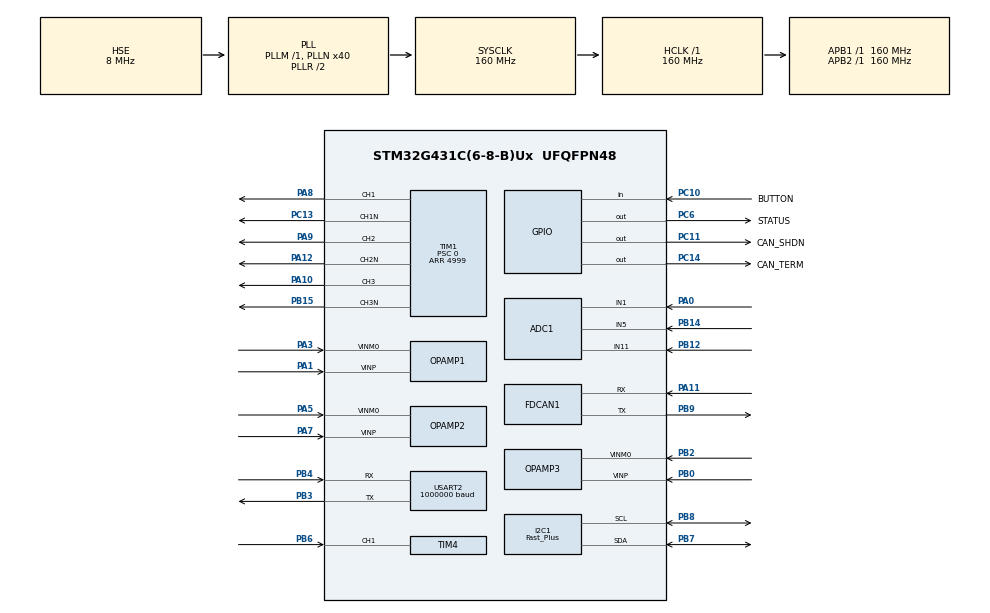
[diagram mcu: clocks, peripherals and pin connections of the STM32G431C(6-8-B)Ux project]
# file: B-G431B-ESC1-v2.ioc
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ADC1.Channel-0\#ChannelRegularConversion=ADC_CHANNEL_VOPAMP1
ADC1.Channel-1\#ChannelRegularConversion=ADC_CHANNEL_VOPAMP1
ADC1.Channel-2\#ChannelRegularConversion=ADC_CHANNEL_11
ADC1.Channel-3\#ChannelRegularConversion=ADC_CHANNEL_1
ADC1.Channel-4\#ChannelRegularConversion=ADC_CHANNEL_5
ADC1.EOCSelection=ADC_EOC_SEQ_CONV
ADC1.ExternalTrigConv=ADC_EXTERNALTRIG_T1_TRGO
ADC1.NbrOfConversion=5
ADC1.NbrOfConversionFlag=1
ADC1.OffsetNumber-0\#ChannelRegularConversion=ADC_OFFSET_NONE
ADC1.OffsetNumber-1\#ChannelRegularConversion=ADC_OFFSET_NONE
ADC1.OffsetNumber-2\#ChannelRegularConversion=ADC_OFFSET_NONE
ADC1.OffsetNumber-3\#ChannelRegularConversion=ADC_OFFSET_NONE
ADC1.OffsetNumber-4\#ChannelRegularConversion=ADC_OFFSET_NONE
ADC1.Overrun=ADC_OVR_DATA_OVERWRITTEN
ADC1.Rank-0\#ChannelRegularConversion=1
ADC1.Rank-1\#ChannelRegularConversion=2
ADC1.Rank-2\#ChannelRegularConversion=3
ADC1.Rank-3\#ChannelRegularConversion=4
ADC1.Rank-4\#ChannelRegularConversion=5
ADC1.SamplingTime-0\#ChannelRegularConversion=ADC_SAMPLETIME_2CYCLES_5
ADC1.SamplingTime-1\#ChannelRegularConversion=ADC_SAMPLETIME_2CYCLES_5
ADC1.SamplingTime-2\#ChannelRegularConversion=ADC_SAMPLETIME_2CYCLES_5
ADC1.SamplingTime-3\#ChannelRegularConversion=ADC_SAMPLETIME_2CYCLES_5
ADC1.SamplingTime-4\#ChannelRegularConversion=ADC_SAMPLETIME_2CYCLES_5
ADC1.master=1
ADC2.Channel-0\#ChannelRegularConversion=ADC_CHANNEL_VOPAMP2
ADC2.Channel-1\#ChannelRegularConversion=ADC_CHANNEL_VOPAMP2
ADC2.Channel-2\#ChannelRegularConversion=ADC_CHANNEL_VOPAMP3_ADC2
ADC2.EOCSelection=ADC_EOC_SEQ_CONV
ADC2.ExternalTrigConv=ADC_EXTERNALTRIG_T1_TRGO
ADC2.NbrOfConversion=3
ADC2.NbrOfConversionFlag=1
ADC2.OffsetNumber-0\#ChannelRegularConversion=ADC_OFFSET_NONE
ADC2.OffsetNumber-1\#ChannelRegularConversion=ADC_OFFSET_NONE
ADC2.OffsetNumber-2\#ChannelRegularConversion=ADC_OFFSET_NONE
ADC2.Overrun=ADC_OVR_DATA_OVERWRITTEN
ADC2.Rank-0\#ChannelRegularConversion=1
ADC2.Rank-1\#ChannelRegularConversion=2
ADC2.Rank-2\#ChannelRegularConversion=3
ADC2.SamplingTime-0\#ChannelRegularConversion=ADC_SAMPLETIME_2CYCLES_5
ADC2.SamplingTime-1\#ChannelRegularConversion=ADC_SAMPLETIME_2CYCLES_5
ADC2.SamplingTime-2\#ChannelRegularConversion=ADC_SAMPLETIME_2CYCLES_5
Dma.ADC1.2.Direction=DMA_PERIPH_TO_MEMORY
Dma.ADC1.2.EventEnable=DISABLE
Dma.ADC1.2.Instance=DMA1_Channel3
Dma.ADC1.2.MemDataAlignment=DMA_MDATAALIGN_HALFWORD
Dma.ADC1.2.MemInc=DMA_MINC_ENABLE
Dma.ADC1.2.Mode=DMA_CIRCULAR
Dma.ADC1.2.PeriphDataAlignment=DMA_PDATAALIGN_HALFWORD
Dma.ADC1.2.PeriphInc=DMA_PINC_DISABLE
Dma.ADC1.2.Polarity=HAL_DMAMUX_REQ_GEN_RISING
Dma.ADC1.2.Priority=DMA_PRIORITY_LOW
Dma.ADC1.2.RequestNumber=1
Dma.ADC1.2.SignalID=NONE
Dma.ADC1.2.SyncEnable=DISABLE
Dma.ADC1.2.SyncPolarity=HAL_DMAMUX_SYNC_NO_EVENT
Dma.ADC1.2.SyncRequestNumber=1
Dma.ADC1.2.SyncSignalID=NONE
Dma.ADC2.3.Direction=DMA_PERIPH_TO_MEMORY
Dma.ADC2.3.EventEnable=DISABLE
Dma.ADC2.3.Instance=DMA1_Channel4
Dma.ADC2.3.MemDataAlignment=DMA_MDATAALIGN_HALFWORD
Dma.ADC2.3.MemInc=DMA_MINC_ENABLE
Dma.ADC2.3.Mode=DMA_CIRCULAR
Dma.ADC2.3.PeriphDataAlignment=DMA_PDATAALIGN_HALFWORD
Dma.ADC2.3.PeriphInc=DMA_PINC_DISABLE
Dma.ADC2.3.Polarity=HAL_DMAMUX_REQ_GEN_RISING
Dma.ADC2.3.Priority=DMA_PRIORITY_LOW
Dma.ADC2.3.RequestNumber=1
Dma.ADC2.3.SignalID=NONE
Dma.ADC2.3.SyncEnable=DISABLE
Dma.ADC2.3.SyncPolarity=HAL_DMAMUX_SYNC_NO_EVENT
Dma.ADC2.3.SyncRequestNumber=1
Dma.ADC2.3.SyncSignalID=NONE
Dma.Request0=USART2_RX
Dma.Request1=USART2_TX
Dma.Request2=ADC1
Dma.Request3=ADC2
Dma.USART2_RX.0.Direction=DMA_PERIPH_TO_MEMORY
Dma.USART2_RX.0.EventEnable=DISABLE
Dma.USART2_RX.0.Instance=DMA1_Channel1
Dma.USART2_RX.0.MemDataAlignment=DMA_MDATAALIGN_BYTE
Dma.USART2_RX.0.MemInc=DMA_MINC_ENABLE
Dma.USART2_RX.0.Mode=DMA_CIRCULAR
Dma.USART2_RX.0.PeriphDataAlignment=DMA_PDATAALIGN_BYTE
Dma.USART2_RX.0.PeriphInc=DMA_PINC_DISABLE
Dma.USART2_RX.0.Polarity=HAL_DMAMUX_REQ_GEN_RISING
Dma.USART2_RX.0.Priority=DMA_PRIORITY_LOW
Dma.USART2_RX.0.RequestNumber=1
Dma.USART2_RX.0.SignalID=NONE
Dma.USART2_RX.0.SyncEnable=DISABLE
Dma.USART2_RX.0.SyncPolarity=HAL_DMAMUX_SYNC_NO_EVENT
Dma.USART2_RX.0.SyncRequestNumber=1
Dma.USART2_RX.0.SyncSignalID=NONE
Dma.USART2_TX.1.Direction=DMA_MEMORY_TO_PERIPH
Dma.USART2_TX.1.EventEnable=DISABLE
Dma.USART2_TX.1.Instance=DMA1_Channel2
Dma.USART2_TX.1.MemDataAlignment=DMA_MDATAALIGN_BYTE
Dma.USART2_TX.1.MemInc=DMA_MINC_ENABLE
Dma.USART2_TX.1.Mode=DMA_NORMAL
Dma.USART2_TX.1.PeriphDataAlignment=DMA_PDATAALIGN_BYTE
Dma.USART2_TX.1.PeriphInc=DMA_PINC_DISABLE
Dma.USART2_TX.1.Polarity=HAL_DMAMUX_REQ_GEN_RISING
Dma.USART2_TX.1.Priority=DMA_PRIORITY_LOW
Dma.USART2_TX.1.RequestNumber=1
Dma.USART2_TX.1.SignalID=NONE
Dma.USART2_TX.1.SyncEnable=DISABLE
Dma.USART2_TX.1.SyncPolarity=HAL_DMAMUX_SYNC_NO_EVENT
Dma.USART2_TX.1.SyncRequestNumber=1
Dma.USART2_TX.1.SyncSignalID=NONE
FDCAN1.AutoRetransmission=ENABLE
FDCAN1.ClockDivider=FDCAN_CLOCK_DIV2
FDCAN1.DataSyncJumpWidth=4
FDCAN1.DataTimeSeg1=5
FDCAN1.DataTimeSeg2=4
FDCAN1.NominalSyncJumpWidth=16
FDCAN1.NominalTimeSeg1=63
FDCAN1.NominalTimeSeg2=16
FDCAN1.StdFiltersNbr=1
FDCAN1.TransmitPause=ENABLE
I2C1.I2C_Speed_Mode=I2C_Fast_Plus
I2C1.Timing=0x00701F6B
Mcu.Family=STM32G4
Mcu.Name=STM32G431C(6-8-B)Ux
Mcu.Package=UFQFPN48
NVIC.ADC1_2_IRQn=true\:0\:0\:false\:false\:true\:true\:true
NVIC.CORDIC_IRQn=true\:0\:0\:false\:false\:true\:true\:true
NVIC.DMA1_Channel1_IRQn=true\:0\:0\:false\:false\:true\:false\:true
NVIC.DMA1_Channel2_IRQn=true\:0\:0\:false\:false\:true\:false\:true
NVIC.DMA1_Channel3_IRQn=true\:0\:0\:false\:false\:true\:false\:true
NVIC.DMA1_Channel4_IRQn=true\:0\:0\:false\:false\:true\:false\:true
NVIC.FDCAN1_IT0_IRQn=true\:0\:0\:false\:false\:true\:true\:true
NVIC.PriorityGroup=NVIC_PRIORITYGROUP_4
NVIC.TIM4_IRQn=true\:0\:0\:true\:false\:true\:true\:true
NVIC.USART2_IRQn=true\:0\:0\:false\:false\:true\:true\:true
OPAMP1.PgaGain=OPAMP_PGA_GAIN_16_OR_MINUS_15
OPAMP2.PgaGain=OPAMP_PGA_GAIN_16_OR_MINUS_15
OPAMP3.PgaGain=OPAMP_PGA_GAIN_16_OR_MINUS_15
PA0.Mode=IN1-Single-Ended
PA0.Signal=ADC1_IN1
PA1.Mode=PGA Internally connected_IO0_BIAS
PA1.Signal=OPAMP1_VINP
PA10.Signal=S_TIM1_CH3
PA11.Mode=FDCAN_Activate
PA11.Signal=FDCAN1_RX
PA12.Mode=PWM Generation2 CH2 CH2N
PA12.Signal=TIM1_CH2N
PA13.Mode=Serial_Wire
PA13.Signal=SYS_JTMS-SWDIO
PA14.Mode=Serial_Wire
PA14.Signal=SYS_JTCK-SWCLK
PA3.Mode=PGA Internally connected_IO0_BIAS
PA3.Signal=OPAMP1_VINM0
PA5.Mode=PGA Internally connected_IO0_BIAS
PA5.Signal=OPAMP2_VINM0
PA7.Mode=PGA Internally connected_IO0_BIAS
PA7.Signal=OPAMP2_VINP
PA8.Signal=S_TIM1_CH1
PA9.Signal=S_TIM1_CH2
PB0.Mode=PGA Internally connected_IO0_BIAS
PB0.Signal=OPAMP3_VINP
PB12.Mode=IN11-Single-Ended
PB12.Signal=ADC1_IN11
PB14.Mode=IN5-Single-Ended
PB14.Signal=ADC1_IN5
PB15.Mode=PWM Generation3 CH3 CH3N
PB15.Signal=TIM1_CH3N
PB2.Mode=PGA Internally connected_IO0_BIAS
PB2.Signal=OPAMP3_VINM0
PB3.Mode=Asynchronous
PB3.Signal=USART2_TX
PB4.Mode=Asynchronous
PB4.Signal=USART2_RX
PB6.Signal=S_TIM4_CH1
PB7.GPIO_FM7=SYSCFG_FASTMODEPLUS_PB7
PB7.GPIO_PuPdOD=GPIO_NOPULL
PB7.GPIO_Speed=GPIO_SPEED_FREQ_VERY_HIGH
PB7.Mode=I2C
PB7.Signal=I2C1_SDA
PB8-BOOT0.GPIO_FM8=SYSCFG_FASTMODEPLUS_PB8
PB8-BOOT0.GPIO_PuPdOD=GPIO_NOPULL
PB8-BOOT0.GPIO_Speed=GPIO_SPEED_FREQ_VERY_HIGH
PB8-BOOT0.Mode=I2C
PB8-BOOT0.Signal=I2C1_SCL
PB9.Mode=FDCAN_Activate
PB9.Signal=FDCAN1_TX
PC10.GPIO_Label=BUTTON
PC10.Signal=GPIO_Input
PC11.GPIO_Label=CAN_SHDN
PC11.Signal=GPIO_Output
PC13.Mode=PWM Generation1 CH1 CH1N
PC13.Signal=TIM1_CH1N
PC14-OSC32_IN.GPIO_Label=CAN_TERM
PC14-OSC32_IN.Signal=GPIO_Output
PC6.GPIO_Label=STATUS
PC6.Signal=GPIO_Output
PF0-OSC_IN.Mode=HSE-External-Oscillator
PF0-OSC_IN.Signal=RCC_OSC_IN
PF1-OSC_OUT.Mode=HSE-External-Oscillator
PF1-OSC_OUT.Signal=RCC_OSC_OUT
ProjectManager.HeapSize=0x200
ProjectManager.StackSize=0x400
ProjectManager.TargetToolchain=STM32CubeIDE
RCC.ADC12Freq_Value=160000000
RCC.AHBFreq_Value=160000000
RCC.APB1Freq_Value=160000000
RCC.APB1TimFreq_Value=160000000
RCC.APB2Freq_Value=160000000
RCC.APB2TimFreq_Value=160000000
RCC.CortexFreq_Value=160000000
RCC.EXTERNAL_CLOCK_VALUE=12288000
RCC.HCLKFreq_Value=160000000
RCC.HSE_VALUE=8000000
RCC.HSI48_VALUE=48000000
RCC.HSI_VALUE=16000000
RCC.LSE_VALUE=32768
RCC.PLLN=40
RCC.PLLSourceVirtual=RCC_PLLSOURCE_HSE
RCC.SYSCLKFreq_VALUE=160000000
RCC.SYSCLKSource=RCC_SYSCLKSOURCE_PLLCLK
RCC.USBFreq_Value=160000000
RCC.VCOOutputFreq_Value=320000000
SH.S_TIM1_CH1.0=TIM1_CH1,PWM Generation1 CH1 CH1N
SH.S_TIM1_CH2.0=TIM1_CH2,PWM Generation2 CH2 CH2N
SH.S_TIM1_CH3.0=TIM1_CH3,PWM Generation3 CH3 CH3N
SH.S_TIM4_CH1.0=TIM4_CH1,PWM_Input_1
TIM1.Channel-PWM\ Generation1\ CH1\ CH1N=TIM_CHANNEL_1
TIM1.Channel-PWM\ Generation2\ CH2\ CH2N=TIM_CHANNEL_2
TIM1.Channel-PWM\ Generation3\ CH3\ CH3N=TIM_CHANNEL_3
TIM1.CounterMode=TIM_COUNTERMODE_CENTERALIGNED1
TIM1.DeadTime=128
TIM1.PeriodNoDither=4999
TIM1.Prescaler=0
TIM1.TIM_MasterOutputTrigger=TIM_TRGO_UPDATE
TIM4.ICPolarity_1=TIM_INPUTCHANNELPOLARITY_RISING
TIM4.Prescaler=2
TIM6.Prescaler=159
USART2.BaudRate=1000000
USART2.VirtualMode-Asynchronous=VM_ASYNC
VP_ADC1_OPAMP_INTERNAL1.Mode=IN-OPAMP1
VP_ADC2_OPAMP_INTERNAL2.Mode=IN-OPAMP2
VP_ADC2_OPAMP_INTERNAL3.Mode=IN-OPAMP3
VP_CORDIC_VS_CORDIC.Mode=CORDIC_Activate
VP_SYS_VS_DBSignals.Mode=DisableDeadBatterySignals
VP_TIM1_VS_ClockSourceINT.Mode=Internal
VP_TIM6_VS_ClockSourceINT.Mode=Enable_Timer
board=custom

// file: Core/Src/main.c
/* USER CODE BEGIN Header */
/**
 ******************************************************************************
 * @file           : main.c
 * @brief          : Main program body
 ******************************************************************************
 * @attention
 *
 * <h2><center>&copy; Copyright (c) 2021 STMicroelectronics.
 * All rights reserved.</center></h2>
 *
 * This software component is licensed by ST under BSD 3-Clause license,
 * the "License"; You may not use this file except in compliance with the
 * License. You may obtain a copy of the License at:
 *                        opensource.org/licenses/BSD-3-Clause
 *
 ******************************************************************************
 */
/* USER CODE END Header */
#include "main.h"

/* USER CODE BEGIN Includes */
#include "serial.h"
#include "position_sensor.h"
#include "foc.h"
#include "math_tool.h"
#include "eeprom.h"
#include "protocol.h"
#include "control_table.h"
#include "binary_tool.h"
#include "pid.h"

/* USER CODE END Includes */

/* USER CODE BEGIN PD */

// Position sensor type :
//    "AS5600_I2C"
//    "AS5048A_PWM"
#define SENSOR_TYPE AS5048A_PWM

// PID Loop period in µs
//  normal setting is 1000us (1KHz)
//  performance setting is 250 (4KHz)
#define PID_LOOP_PERIOD 250

// Autocalibration at startup
//   uncomment this line for calibrating the ESC/MOTOR at startup
//   comment this line to avoid wearing EEPROM
//#define PERFORM_AUTO_CALIBRATION_AT_STARTUP

// Advanced settings (do not change)
#define ALPHA_VELOCITY				0.24f // (default:0.24) F = 1000Hz ==> Fc (-3dB) = 20Hz
#define ALPHA_CURRENT_SETPOINT 		0.48f // (default:0.48) F = 1000Hz ==> Fc (-3dB) = 20Hz

/* USER CODE END PD */

ADC_HandleTypeDef hadc1;
ADC_HandleTypeDef hadc2;
DMA_HandleTypeDef hdma_adc1;
DMA_HandleTypeDef hdma_adc2;

CORDIC_HandleTypeDef hcordic;

FDCAN_HandleTypeDef hfdcan1;

I2C_HandleTypeDef hi2c1;

OPAMP_HandleTypeDef hopamp1;
OPAMP_HandleTypeDef hopamp2;
OPAMP_HandleTypeDef hopamp3;

TIM_HandleTypeDef htim1;
TIM_HandleTypeDef htim4;
TIM_HandleTypeDef htim6;

UART_HandleTypeDef huart2;
DMA_HandleTypeDef hdma_usart2_rx;
DMA_HandleTypeDef hdma_usart2_tx;

/* USER CODE BEGIN PV */
HAL_Serial_Handler serial;
static FDCAN_RxHeaderTypeDef RxHeader;
static uint8_t RxData[8];
static FDCAN_TxHeaderTypeDef TxHeader;
static uint8_t TxData[8];

/* USER CODE END PV */

void SystemClock_Config(void);
static void MX_GPIO_Init(void);
static void MX_DMA_Init(void);
static void MX_TIM4_Init(void);
static void MX_USART2_UART_Init(void);
static void MX_TIM1_Init(void);
static void MX_ADC1_Init(void);
static void MX_ADC2_Init(void);
static void MX_OPAMP1_Init(void);
static void MX_OPAMP2_Init(void);
static void MX_OPAMP3_Init(void);
static void MX_CORDIC_Init(void);
static void MX_TIM6_Init(void);
static void MX_FDCAN1_Init(void);
static void MX_I2C1_Init(void);

/* USER CODE BEGIN 0 */
void HAL_TIM_IC_CaptureCallback(TIM_HandleTypeDef *htim)
{
	if (positionSensor_getType() == AS5048A_PWM)
	{
		API_AS5048A_Position_Sensor_It(htim);
	}
}

// current sense
void HAL_ADC_ConvCpltCallback(ADC_HandleTypeDef *hadc)
{
	API_FOC_It(hadc);
}

/**
 * @brief  Configures the FDCAN.
 * @param  None
 * @retval None
 */
static void FDCAN_Config(void)
{
	FDCAN_FilterTypeDef sFilterConfig;

	/* Configure Rx filter */
	sFilterConfig.IdType = FDCAN_STANDARD_ID;
	sFilterConfig.FilterIndex = 0;
	sFilterConfig.FilterType = FDCAN_FILTER_RANGE;
	sFilterConfig.FilterConfig = FDCAN_FILTER_TO_RXFIFO0;
	sFilterConfig.FilterID1 = 0x000;
	sFilterConfig.FilterID2 = 0x100;
	if (HAL_FDCAN_ConfigFilter(&hfdcan1, &sFilterConfig) != HAL_OK)
	{
		Error_Handler();
	}

	/* Configure global filter:
     Filter all remote frames with STD and EXT ID
     Reject non matching frames with STD ID and EXT ID */
	if (HAL_FDCAN_ConfigGlobalFilter(&hfdcan1, FDCAN_ACCEPT_IN_RX_FIFO0, FDCAN_ACCEPT_IN_RX_FIFO0, FDCAN_FILTER_REMOTE, FDCAN_FILTER_REMOTE) != HAL_OK)
	{
		Error_Handler();
	}

	HAL_GPIO_WritePin(CAN_SHDN_GPIO_Port, CAN_SHDN_Pin, GPIO_PIN_RESET);
	HAL_GPIO_WritePin(CAN_TERM_GPIO_Port, CAN_TERM_Pin, GPIO_PIN_SET); // SET means activating R120

	/* Start the FDCAN module */
	if (HAL_FDCAN_Start(&hfdcan1) != HAL_OK)
	{
		Error_Handler();
	}

	if (HAL_FDCAN_ActivateNotification(&hfdcan1, FDCAN_IT_RX_FIFO0_NEW_MESSAGE, 0) != HAL_OK)
	{
		Error_Handler();
	}

	/* Prepare Tx Header */
	TxHeader.Identifier = 0;
	TxHeader.IdType = FDCAN_STANDARD_ID;
	TxHeader.TxFrameType = FDCAN_DATA_FRAME;
	TxHeader.DataLength = FDCAN_DLC_BYTES_8;
	TxHeader.ErrorStateIndicator = FDCAN_ESI_ACTIVE;
	TxHeader.BitRateSwitch = FDCAN_BRS_OFF;
	TxHeader.FDFormat = FDCAN_CLASSIC_CAN;
	TxHeader.TxEventFifoControl = FDCAN_NO_TX_EVENTS;
	TxHeader.MessageMarker = 0;
}
/* USER CODE END 0 */

int main(void)
{

	/* MCU Configuration--------------------------------------------------------*/

	/* Reset of all peripherals, Initializes the Flash interface and the Systick. */
	HAL_Init();

	/* Configure the system clock */
	SystemClock_Config();

	/* Initialize all configured peripherals */
	MX_GPIO_Init();
	MX_DMA_Init();
	MX_TIM4_Init();
	MX_USART2_UART_Init();
	MX_TIM1_Init();
	MX_ADC1_Init();
	MX_ADC2_Init();
	MX_OPAMP1_Init();
	MX_OPAMP2_Init();
	MX_OPAMP3_Init();
	MX_CORDIC_Init();
	MX_TIM6_Init();
	MX_FDCAN1_Init();
	MX_I2C1_Init();
	/* USER CODE BEGIN 2 */
	HAL_TIM_Base_Start(&htim6); // 1us base timer
	uint16_t present_time_us = __HAL_TIM_GET_COUNTER(&htim6);
	uint16_t last_time_us = present_time_us;
	API_FOC_Init();
	HAL_Serial_Init(&huart2,&serial);
	//HAL_Serial_Print(&serial,"RESET!\n");
	if(eeprom_empty())
		factory_reset_eeprom_regs();
	load_eeprom_regs();
	reset_ram_regs();
	FDCAN_Config();
	positionSensor_init(SENSOR_TYPE);
	positionSensor_update();
#ifdef PERFORM_AUTO_CALIBRATION_AT_STARTUP
	API_FOC_Calibrate();
#endif
	/* USER CODE END 2 */

	/* Infinite loop */
	/* USER CODE BEGIN WHILE */
	float setpoint_position_deg = 0.0f;
	float setpoint_velocity_dps = 0.0f;
	float setpoint_acceleration_dpss = 0.0f;
	float error_velocity_dps = 0.0f;
	float setpoint_torque_current_mA = 0.0f;
	float setpoint_flux_current_mA = 0.0f;
	float last_setpoint_velocity_dps = 0.0f;
	uint16_t last_mode = REG_CONTROL_MODE_IDLE;
	bool can_armed = false;
	uint32_t can_last_time = 0;
	uint32_t pid_counter = 0;
	pid_context_t pid_velocity;
	pid_context_t pid_position;
	pid_reset(&pid_position);
	pid_reset(&pid_velocity);

	while (1)
	{
		/* USER CODE END WHILE */

		/* USER CODE BEGIN 3 */

		// Handle local MMI
		// Led STATUS
		HAL_GPIO_WritePin(STATUS_GPIO_Port,STATUS_Pin,(regs[REG_LED]>0)||(regs[REG_HARDWARE_ERROR_STATUS]>0)?GPIO_PIN_SET:GPIO_PIN_RESET);
		// Pressing the button starts calibration
		if(HAL_GPIO_ReadPin(BUTTON_GPIO_Port,BUTTON_Pin)==GPIO_PIN_RESET)
		{
			// perform calibration
			API_FOC_Calibrate();
			// reset state
			last_mode = REG_CONTROL_MODE_IDLE;
			can_armed = false;
			setpoint_position_deg = 0.0f;
			setpoint_velocity_dps = 0.0f;
			error_velocity_dps = 0.0f;
			setpoint_torque_current_mA = 0.0f;
			setpoint_flux_current_mA = 0.0f;
			// update RAM
			regs[REG_CONTROL_MODE] = REG_CONTROL_MODE_IDLE;
		}

		// Handle CAN communication
		while( HAL_FDCAN_GetRxFifoFillLevel(&hfdcan1,FDCAN_RX_FIFO0)!=0)
		{
			HAL_StatusTypeDef rx_result = HAL_FDCAN_GetRxMessage(&hfdcan1,FDCAN_RX_FIFO0,&RxHeader,RxData);
			if(rx_result==HAL_OK)
			{
				// decode message ID=0x000+ID
				if(RxHeader.Identifier==regs[REG_ID]) // message from host controller
				{
					// can watchdog re-arm
					if( can_armed )
					{
						can_last_time = HAL_GetTick();
					}
					uint32_t payload_length = RxHeader.DataLength>>16U;
					// check payload size = 8
					if(can_armed && payload_length==2) // Feed Forward Torque only
					{
						// decode payload filed
						regs[REG_GOAL_TORQUE_CURRENT_MA_L] = RxData[0];
						regs[REG_GOAL_TORQUE_CURRENT_MA_H] = RxData[1];
						//HAL_Serial_Print(&serial,"CAN (2)\n");
					}
					else if(can_armed && payload_length==4) // Position and speed, Kp/Kd unchanged
					{
						// decode payload filed
						regs[REG_GOAL_POSITION_DEG_L] = RxData[0];
						regs[REG_GOAL_POSITION_DEG_H] = RxData[1];
						regs[REG_GOAL_VELOCITY_DPS_L] = RxData[2];
						regs[REG_GOAL_VELOCITY_DPS_H] = RxData[3];
						//HAL_Serial_Print(&serial,"CAN (4)\n");
					}
					else if(payload_length==6) // position, speed, and torque feed forward, Kp/kd update
					{
						if( (RxData[0]==0xFF) && (RxData[1]==0xFF) && (RxData[2]==0xFF) && (RxData[3]==0xFF) &&
								(RxData[4]==0xFF) && (RxData[5]==0xFF))
						{
							// init watch dog
							can_armed = true;
							can_last_time = HAL_GetTick();
							regs[REG_CONTROL_MODE] = REG_CONTROL_MODE_POSITION_VELOCITY_TORQUE_VELOCITY_PROFIL;
							regs[REG_GOAL_POSITION_DEG_L] = regs[REG_PRESENT_POSITION_DEG_L];
							regs[REG_GOAL_POSITION_DEG_H] = regs[REG_PRESENT_POSITION_DEG_H];
							regs[REG_GOAL_VELOCITY_DPS_L] = 0;
							regs[REG_GOAL_VELOCITY_DPS_H] = 0;
							regs[REG_GOAL_TORQUE_CURRENT_MA_L] = 0;
							regs[REG_GOAL_TORQUE_CURRENT_MA_H] = 0;
							//HAL_Serial_Print(&serial,"CAN request ARM\n");
						} else if ( (RxData[0]==0x00) && (RxData[1]==0x00) && (RxData[2]==0x00) && (RxData[3]==0x00) &&
								(RxData[4]==0x00) && (RxData[5]==0x00))
						{
							//Disarm
							can_armed = false;
							regs[REG_CONTROL_MODE] = REG_CONTROL_MODE_IDLE;
						}
						else if(can_armed)
						{
							// decode payload filed
							regs[REG_GOAL_POSITION_DEG_L] = RxData[0];
							regs[REG_GOAL_POSITION_DEG_H] = RxData[1];
							regs[REG_GOAL_VELOCITY_DPS_L] = RxData[2];
							regs[REG_GOAL_VELOCITY_DPS_H] = RxData[3];
							regs[REG_GOAL_TORQUE_CURRENT_MA_L] = RxData[4];
							regs[REG_GOAL_TORQUE_CURRENT_MA_H] = RxData[5];
//							regs[REG_GOAL_KP]  = RxData[6];
//							regs[REG_GOAL_KD]  = RxData[7];
							//HAL_Serial_Print(&serial,"CAN (8)\n");
						}
					}

					//					  // then reply by a status frame
					//					  TxHeader.Identifier = regs[REG_ID]; // each ESC replies with a message identifier = it is own ID
					//					  TxData[0] = regs[REG_ID];
					//					  TxData[1] = regs[REG_HARDWARE_ERROR_STATUS];
					//					  TxData[2] = regs[REG_PRESENT_POSITION_DEG_L];
					//					  TxData[3] = regs[REG_PRESENT_POSITION_DEG_H];
					//					  TxData[4] = regs[REG_PRESENT_TORQUE_CURRENT_MA_L];
					//					  TxData[5] = regs[REG_PRESENT_TORQUE_CURRENT_MA_H];
					//					  TxData[6] = regs[REG_PRESENT_VOLTAGE];
					//					  TxData[7] = regs[REG_PRESENT_TEMPERATURE];
					//					  HAL_FDCAN_AddMessageToTxFifoQ(&hfdcan1,&TxHeader,TxData);

					// then reply by a status frame (shortened)
					//HAL_GPIO_WritePin(STATUS_GPIO_Port,STATUS_Pin,GPIO_PIN_SET);
					TxHeader.Identifier = 0x10+regs[REG_ID]; // each ESC replies with a message identifier = it is own ID
					TxHeader.DataLength = FDCAN_DLC_BYTES_5;
					TxData[0] = regs[REG_PRESENT_POSITION_DEG_L];
					TxData[1] = regs[REG_PRESENT_POSITION_DEG_H];
					TxData[2] = regs[REG_PRESENT_VELOCITY_DPS_L];
					TxData[3] = regs[REG_PRESENT_VELOCITY_DPS_H];
					TxData[4] = regs[REG_HARDWARE_ERROR_STATUS];
					//TxData[5] = regs[REG_PRESENT_VOLTAGE];
					//TxData[6] = regs[REG_PRESENT_TEMPERATURE];
					//TxData[7] = ....
					HAL_FDCAN_AddMessageToTxFifoQ(&hfdcan1,&TxHeader,TxData);
				}
			}
			//else
			// CAN error handler
		}
		// CAN bus watchdog (time-out=1s)
		if( (HAL_GetTick()>can_last_time+1000) && can_armed )
		{
			can_armed = false;
			regs[REG_CONTROL_MODE] = REG_CONTROL_MODE_IDLE;
		}

		// Handle serial communication
		while(HAL_Serial_Available(&serial))
		{
			char c = HAL_Serial_GetChar(&serial);
			packet_handler(c);
		}

		// 1 to 4Khz low priority process
		present_time_us = __HAL_TIM_GET_COUNTER(&htim6);
		int16_t const delta_time_us = present_time_us-last_time_us;
		if(delta_time_us>=PID_LOOP_PERIOD)
		{
			last_time_us+=PID_LOOP_PERIOD;
			++pid_counter;
			// make alias
			uint16_t const reg_control_mode = regs[REG_CONTROL_MODE];
			// process operating mode

			positionSensor_update();

			switch(reg_control_mode)
			{
			case REG_CONTROL_MODE_POSITION_VELOCITY_TORQUE:
			{
				if(last_mode!=REG_CONTROL_MODE_POSITION_VELOCITY_TORQUE)
				{
					// set goal position to present position to avoid mechanical glicth
					regs[REG_GOAL_POSITION_DEG_L] = LOW_BYTE((int16_t)(1.0f*positionSensor_getDegreeMultiturn()));
					regs[REG_GOAL_POSITION_DEG_H] = HIGH_BYTE((int16_t)(1.0f*positionSensor_getDegreeMultiturn()));
					// reset goal velocity
					regs[REG_GOAL_VELOCITY_DPS_L] = 0;
					regs[REG_GOAL_VELOCITY_DPS_H] = 0;
					// reset feed-forward torque
					regs[REG_GOAL_TORQUE_CURRENT_MA_L] = 0;
					regs[REG_GOAL_TORQUE_CURRENT_MA_H] = 0;
					// reset flux refenrece
					regs[REG_GOAL_FLUX_CURRENT_MA_L] = 0;
					regs[REG_GOAL_FLUX_CURRENT_MA_H] = 0;

					regs[REG_GOAL_CLOSED_LOOP] = 1;

					// reset setpoints
					setpoint_position_deg = 0.0f;
					setpoint_velocity_dps = 0.0f;
					error_velocity_dps = 0.0f;
					setpoint_torque_current_mA = 0.0f;
					setpoint_flux_current_mA = 0.0f;

					// set setpoint_position_deg to avoid glitch
					setpoint_position_deg = positionSensor_getDegreeMultiturn();
				}
				{
					// compute position set-point from goal and EEPROM position limits
					float const goal_position_deg = (float)((int16_t)(MAKE_SHORT(regs[REG_GOAL_POSITION_DEG_L],regs[REG_GOAL_POSITION_DEG_H])))/1.0f;
					float const reg_min_position_deg = (float)((int16_t)(MAKE_SHORT(regs[REG_MIN_POSITION_DEG_L],regs[REG_MIN_POSITION_DEG_H])));
					float const reg_max_position_deg = (float)((int16_t)(MAKE_SHORT(regs[REG_MAX_POSITION_DEG_L],regs[REG_MAX_POSITION_DEG_H])));
					setpoint_position_deg = fconstrain(goal_position_deg,reg_min_position_deg,reg_max_position_deg);
					// compute velocity setpoint from goal and EEPROM velocity limit
					float const goal_velocity_dps = (int16_t)(MAKE_SHORT(regs[REG_GOAL_VELOCITY_DPS_L],regs[REG_GOAL_VELOCITY_DPS_H]));
					float const reg_max_velocity_dps = (int16_t)(MAKE_SHORT(regs[REG_MAX_VELOCITY_DPS_L],regs[REG_MAX_VELOCITY_DPS_H]));
					setpoint_velocity_dps = fconstrain(goal_velocity_dps,-reg_max_velocity_dps,reg_max_velocity_dps);
					// compute torque feed forward
					float const torque_feed_forward_ma = (int16_t)(MAKE_SHORT(regs[REG_GOAL_TORQUE_CURRENT_MA_L],regs[REG_GOAL_TORQUE_CURRENT_MA_H]));
					// compute torque setpoint
					float const error_position_deg = setpoint_position_deg-positionSensor_getDegreeMultiturn();
					float const kp = (float)regs[REG_GOAL_KP];
					error_velocity_dps = ALPHA_VELOCITY*(setpoint_velocity_dps-positionSensor_getVelocityDegree())+(1.0f-ALPHA_VELOCITY)*error_velocity_dps;
					float const kd = (float)regs[REG_GOAL_KD]/100.0f;
					float const reg_reverse = regs[REG_INV_PHASE_MOTOR] == 0 ? 1.0f : -1.0f;
					setpoint_torque_current_mA = ALPHA_CURRENT_SETPOINT*reg_reverse*(kp*error_position_deg+kd*error_velocity_dps+torque_feed_forward_ma) + (1.0f-ALPHA_CURRENT_SETPOINT)*setpoint_torque_current_mA;

					// limit torque
					float const reg_max_current_ma = (uint16_t)(MAKE_SHORT(regs[REG_MAX_CURRENT_MA_L],regs[REG_MAX_CURRENT_MA_H]));
					setpoint_torque_current_mA = fconstrain(setpoint_torque_current_mA,-reg_max_current_ma,reg_max_current_ma);
					// set flux
					float const goal_flux_current_mA = (int16_t)(MAKE_SHORT(regs[REG_GOAL_FLUX_CURRENT_MA_L],regs[REG_GOAL_FLUX_CURRENT_MA_H]));
					setpoint_flux_current_mA = goal_flux_current_mA;
					// if target speed not reached, process field weakening :
					if(
							( (setpoint_velocity_dps>1000.0f) && (setpoint_velocity_dps>positionSensor_getVelocityDegree()) ) ||
							( (setpoint_velocity_dps<1000.0f) && (setpoint_velocity_dps<positionSensor_getVelocityDegree()) )
					)
					{
						float const fw = -fmax((fabsf(setpoint_velocity_dps)-1000.0f),0.0f)/(float)(regs[REG_FIELD_WEAKENING_K]+1); // FW start à 1000dps/166rpm
						setpoint_flux_current_mA+=fw;
					}
				}
			}
			break;
			case REG_CONTROL_MODE_POSITION_VELOCITY_TORQUE_VELOCITY_PROFIL:
				if(last_mode!=REG_CONTROL_MODE_POSITION_VELOCITY_TORQUE_VELOCITY_PROFIL)
				{
					pid_reset(&pid_position);
					pid_reset(&pid_velocity);
					// copy EEPROM to RAM
					//regs[REG_GOAL_VELOCITY_DPS_L] = regs[REG_MAX_VELOCITY_DPS_L];
					//regs[REG_GOAL_VELOCITY_DPS_H] = regs[REG_MAX_VELOCITY_DPS_H];
					//regs[REG_GOAL_TORQUE_CURRENT_MA_L] = regs[REG_MAX_CURRENT_MA_L];
					//regs[REG_GOAL_TORQUE_CURRENT_MA_H] = regs[REG_MAX_CURRENT_MA_H];

					// reset goal velocity
					regs[REG_GOAL_VELOCITY_DPS_L] = 0;
					regs[REG_GOAL_VELOCITY_DPS_H] = 0;
					// reset feed-forward torque
					regs[REG_GOAL_TORQUE_CURRENT_MA_L] = 0;
					regs[REG_GOAL_TORQUE_CURRENT_MA_H] = 0;
					// reset flux refenrece
					regs[REG_GOAL_FLUX_CURRENT_MA_L] = 0;
					regs[REG_GOAL_FLUX_CURRENT_MA_H] = 0;

					// set goal position to present position to avoid mechanical glicth
					regs[REG_GOAL_POSITION_DEG_L] = LOW_BYTE((int16_t)(1.0f*positionSensor_getDegreeMultiturn()));
					regs[REG_GOAL_POSITION_DEG_H] = HIGH_BYTE((int16_t)(1.0f*positionSensor_getDegreeMultiturn()));
					// reset setpoints
					setpoint_position_deg = 0.0f;
					setpoint_velocity_dps = 0.0f;
					error_velocity_dps = 0.0f;
					setpoint_torque_current_mA = 0.0f;
					setpoint_flux_current_mA = 0.0f;
					last_setpoint_velocity_dps = 0.0f;
					// set setpoint_position_deg to avoid glitch
					setpoint_position_deg = positionSensor_getDegreeMultiturn();
				}
				{
					// compute position set-point from goal and EEPROM position limits
					float const goal_position_deg = (float)((int16_t)(MAKE_SHORT(regs[REG_GOAL_POSITION_DEG_L],regs[REG_GOAL_POSITION_DEG_H])))/1.0f;
					float const reg_min_position_deg = (float)((int16_t)(MAKE_SHORT(regs[REG_MIN_POSITION_DEG_L],regs[REG_MIN_POSITION_DEG_H])))*1.0f;
					float const reg_max_position_deg = (float)((int16_t)(MAKE_SHORT(regs[REG_MAX_POSITION_DEG_L],regs[REG_MAX_POSITION_DEG_H])))*1.0f;
					float const target_position_deg = fconstrain(goal_position_deg,reg_min_position_deg,reg_max_position_deg);
					// compute velocity&acceleration setpoint using velocity&acceleration trapezoidal profil, RAM goal velocity  and EEPROM velocity & acceleration limit
					float const goal_velocity_dps = (int16_t)(MAKE_SHORT(regs[REG_GOAL_VELOCITY_DPS_L],regs[REG_GOAL_VELOCITY_DPS_H]));
					float const reg_max_velocity_dps = (uint16_t)(MAKE_SHORT(regs[REG_MAX_VELOCITY_DPS_L],regs[REG_MAX_VELOCITY_DPS_H]));
					float const max_velocity_dps = fminf(goal_velocity_dps,reg_max_velocity_dps);
					float const max_acceleration_dpss = 1.0f*(float)(MAKE_SHORT(regs[REG_MAX_ACCELERATION_DPSS_L],regs[REG_MAX_ACCELERATION_DPSS_H]));
					// compute remaining distance between setpoint position to target position
					float const remaining_distance_deg = target_position_deg - setpoint_position_deg;
					// compute maximun velocity to be able to stop at goal position
					float vmax = sqrtf( 2.0f * max_acceleration_dpss * fabsf(remaining_distance_deg) );
					// restore sign
					vmax = ( remaining_distance_deg>0.0f) ? vmax : -vmax;
					// limit maximum velocity, when far from stop
					vmax = fconstrain(vmax,-max_velocity_dps,max_velocity_dps);
					// compute distance between maximun velocity and current velocity
					float delta_v = vmax - setpoint_velocity_dps;
					// now compute new velocity according acceleration
					setpoint_velocity_dps += fconstrain(delta_v, (-max_acceleration_dpss*PID_LOOP_PERIOD/1000000.0f), (max_acceleration_dpss*PID_LOOP_PERIOD/1000000.0f));
					// compute new position setpoint
					setpoint_position_deg += (setpoint_velocity_dps*PID_LOOP_PERIOD/1000000.0f);
					// now compute acceleration setpoint
					setpoint_acceleration_dpss = (setpoint_velocity_dps - last_setpoint_velocity_dps)*1000000.0f/PID_LOOP_PERIOD;
					last_setpoint_velocity_dps =  setpoint_velocity_dps;
					// compute velocity/acceleration feed forwards
					float const pid_vel_kff = (float)(MAKE_SHORT(regs[REG_PID_VELOCITY_KFF_L],regs[REG_PID_VELOCITY_KFF_H]))/1000.0f;
					float const pid_acc_kff = (float)(MAKE_SHORT(regs[REG_PID_ACCELERATION_KFF_L],regs[REG_PID_ACCELERATION_KFF_H]))/100000.0f;
					float const velocity_feed_forward = pid_vel_kff * setpoint_velocity_dps;
					float const acceleration_feed_forward = pid_acc_kff * setpoint_acceleration_dpss;
					// compute position error
					float const error_position_deg = setpoint_position_deg-positionSensor_getDegreeMultiturn();
					// compute torque current setpoint using PID position, current is limited bt goal current and EEPROM current limit
					float const goal_torque_current_mA=(int16_t)(MAKE_SHORT(regs[REG_GOAL_TORQUE_CURRENT_MA_L],regs[REG_GOAL_TORQUE_CURRENT_MA_H]));
					float const reg_max_current_ma = (uint16_t)(MAKE_SHORT(regs[REG_MAX_CURRENT_MA_L],regs[REG_MAX_CURRENT_MA_H]));
					float const reg_reverse = regs[REG_INV_PHASE_MOTOR] == 0 ? 1.0f : -1.0f;
					setpoint_torque_current_mA = ALPHA_CURRENT_SETPOINT*reg_reverse*pid_process_antiwindup_clamp_with_ff(
							&pid_position,
							error_position_deg,
							(float)((int16_t)(MAKE_SHORT(regs[REG_PID_POSITION_KP_L],regs[REG_PID_POSITION_KP_H])))/1.0f,
							(float)((int16_t)(MAKE_SHORT(regs[REG_PID_POSITION_KI_L],regs[REG_PID_POSITION_KI_H])))/100.0f,
							(float)((int16_t)(MAKE_SHORT(regs[REG_PID_POSITION_KD_L],regs[REG_PID_POSITION_KD_H])))/1.0f,
							fminf(goal_torque_current_mA,reg_max_current_ma), // limit is the lowest limit from goal and EEPROM
							0.1f,// ALPHA D
							velocity_feed_forward+acceleration_feed_forward // FF
					) + (1.0f-ALPHA_CURRENT_SETPOINT)*setpoint_torque_current_mA;
					// in this operating mode, flux current is forced to 0
					setpoint_flux_current_mA=0.0f;
				}
				break;

			default: // IDLE of other unknown values
				// reset unused RAM
				regs[REG_GOAL_POSITION_DEG_L] = 0;
				regs[REG_GOAL_POSITION_DEG_H] = 0;
				regs[REG_GOAL_VELOCITY_DPS_L] = 0;
				regs[REG_GOAL_VELOCITY_DPS_H] = 0;
				regs[REG_GOAL_TORQUE_CURRENT_MA_L] = 0;
				regs[REG_GOAL_TORQUE_CURRENT_MA_H] = 0;
				regs[REG_GOAL_FLUX_CURRENT_MA_L] = 0;
				regs[REG_GOAL_FLUX_CURRENT_MA_H] = 0;
				regs[REG_GOAL_KP] = 0;
				regs[REG_GOAL_KD] = 0;

				regs[REG_GOAL_CLOSED_LOOP] = 0;
				// reset all setpoints
				setpoint_position_deg = 0.0f;
				setpoint_velocity_dps = 0.0f;
				setpoint_torque_current_mA=0.0f;
				setpoint_flux_current_mA=0.0f;
				break;
			}
			last_mode = reg_control_mode;
			// PERFORMANCE
			//uint16_t t_end = __HAL_TIM_GET_COUNTER(&htim6);

			// RAM Update
			regs[REG_PRESENT_POSITION_DEG_L] = LOW_BYTE((int16_t)(positionSensor_getDegreeMultiturn()*1.0f));
			regs[REG_PRESENT_POSITION_DEG_H] = HIGH_BYTE((int16_t)(positionSensor_getDegreeMultiturn()*1.0f));
			regs[REG_PRESENT_VELOCITY_DPS_L] = LOW_BYTE((int16_t)(positionSensor_getVelocityDegree()*1.0f));
			regs[REG_PRESENT_VELOCITY_DPS_H] = HIGH_BYTE((int16_t)(positionSensor_getVelocityDegree()*1.0f));
			regs[REG_PRESENT_TORQUE_CURRENT_MA_L] = LOW_BYTE((int16_t)(API_FOC_Get_Present_Torque_Current()*1.0f));
			regs[REG_PRESENT_TORQUE_CURRENT_MA_H] = HIGH_BYTE((int16_t)(API_FOC_Get_Present_Torque_Current()*1.0f));
			regs[REG_PRESENT_FLUX_CURRENT_MA_L] = LOW_BYTE((int16_t)(API_FOC_Get_Present_Flux_Current()*1.0f));
			regs[REG_PRESENT_FLUX_CURRENT_MA_H] = HIGH_BYTE((int16_t)(API_FOC_Get_Present_Flux_Current()*1.0f));
			regs[REG_PRESENT_VOLTAGE] = (uint16_t)(API_FOC_Get_Present_Voltage());
			regs[REG_PRESENT_TEMPERATURE] = (uint16_t)(API_FOC_Get_Present_Temp());
			regs[REG_MOVING] = (uint16_t)(fabsf(positionSensor_getVelocityDegree())) > (uint16_t)(regs[REG_MOVING_THRESHOLD_DPS]) ? 1 : 0;

			// DEBUG RAM Update
			regs[REG_SETPOINT_POSITION_DEG_L] = LOW_BYTE((int16_t)(setpoint_position_deg*1.0f));
			regs[REG_SETPOINT_POSITION_DEG_H] = HIGH_BYTE((int16_t)(setpoint_position_deg*1.0f));
			regs[REG_SETPOINT_VELOCITY_DPS_L] = LOW_BYTE((int16_t)(setpoint_velocity_dps*1.0f));
			regs[REG_SETPOINT_VELOCITY_DPS_H] = HIGH_BYTE((int16_t)(setpoint_velocity_dps*1.0f));
			regs[REG_SETPOINT_TORQUE_CURRENT_MA_L] = LOW_BYTE((int16_t)(setpoint_torque_current_mA*1.0f));
			regs[REG_SETPOINT_TORQUE_CURRENT_MA_H] = HIGH_BYTE((int16_t)(setpoint_torque_current_mA*1.0f));
			regs[REG_SETPOINT_FLUX_CURRENT_MA_L] = LOW_BYTE((int16_t)(setpoint_flux_current_mA*1.0f));
			regs[REG_SETPOINT_FLUX_CURRENT_MA_H] = HIGH_BYTE((int16_t)(setpoint_flux_current_mA*1.0f));
			regs[REG_PROCESSING_TIME] = (uint8_t)(API_FOC_Get_Processing_Time());
			regs[REG_FOC_FREQUENCY] = (uint8_t)(API_FOC_Get_Processing_Frequency()/1000.0f);
			regs[REG_PID_FREQUENCY] = (uint8_t)((float)pid_counter/(float)HAL_GetTick());

			// TRACE
			static uint32_t counter = 0;
			if(((++counter)%4)==0)
			{
				//			HAL_Serial_Print(&serial,"%d %d %d\n",
				//						(int)(setpoint_torque_current_mA),
				//						(int)(API_FOC_Get_Present_Torque_Current()),
				//						(int)(API_FOC_Get_Present_Flux_Current())
				//					);
			}

			// FOC service update
			API_FOC_Service_Update();
		}
		// synchro adjustment
		float const phase_synchro_offset_rad = DEGREES_TO_RADIANS((float)(MAKE_SHORT(regs[REG_GOAL_SYNCHRO_OFFSET_L],regs[REG_GOAL_SYNCHRO_OFFSET_H])));
		// FOC torque update
		API_FOC_Torque_Update(
				present_time_us,
				setpoint_torque_current_mA,
				setpoint_flux_current_mA,
				phase_synchro_offset_rad,
				regs[REG_GOAL_CLOSED_LOOP], // open loop if 0, closed loop if 1
				setpoint_velocity_dps
		);
	}
	/* USER CODE END 3 */
}

void SystemClock_Config(void)
{
	RCC_OscInitTypeDef RCC_OscInitStruct = {0};
	RCC_ClkInitTypeDef RCC_ClkInitStruct = {0};
	RCC_PeriphCLKInitTypeDef PeriphClkInit = {0};

	/** Configure the main internal regulator output voltage
	 */
	HAL_PWREx_ControlVoltageScaling(PWR_REGULATOR_VOLTAGE_SCALE1_BOOST);
	/** Initializes the RCC Oscillators according to the specified parameters
	 * in the RCC_OscInitTypeDef structure.
	 */
	RCC_OscInitStruct.OscillatorType = RCC_OSCILLATORTYPE_HSE;
	RCC_OscInitStruct.HSEState = RCC_HSE_ON;
	RCC_OscInitStruct.PLL.PLLState = RCC_PLL_ON;
	RCC_OscInitStruct.PLL.PLLSource = RCC_PLLSOURCE_HSE;
	RCC_OscInitStruct.PLL.PLLM = RCC_PLLM_DIV1;
	RCC_OscInitStruct.PLL.PLLN = 40;
	RCC_OscInitStruct.PLL.PLLP = RCC_PLLP_DIV2;
	RCC_OscInitStruct.PLL.PLLQ = RCC_PLLQ_DIV2;
	RCC_OscInitStruct.PLL.PLLR = RCC_PLLR_DIV2;
	if (HAL_RCC_OscConfig(&RCC_OscInitStruct) != HAL_OK)
	{
		Error_Handler();
	}
	/** Initializes the CPU, AHB and APB buses clocks
	 */
	RCC_ClkInitStruct.ClockType = RCC_CLOCKTYPE_HCLK|RCC_CLOCKTYPE_SYSCLK
			|RCC_CLOCKTYPE_PCLK1|RCC_CLOCKTYPE_PCLK2;
	RCC_ClkInitStruct.SYSCLKSource = RCC_SYSCLKSOURCE_PLLCLK;
	RCC_ClkInitStruct.AHBCLKDivider = RCC_SYSCLK_DIV1;
	RCC_ClkInitStruct.APB1CLKDivider = RCC_HCLK_DIV1;
	RCC_ClkInitStruct.APB2CLKDivider = RCC_HCLK_DIV1;

	if (HAL_RCC_ClockConfig(&RCC_ClkInitStruct, FLASH_LATENCY_4) != HAL_OK)
	{
		Error_Handler();
	}
	/** Initializes the peripherals clocks
	 */
	PeriphClkInit.PeriphClockSelection = RCC_PERIPHCLK_USART2|RCC_PERIPHCLK_I2C1
			|RCC_PERIPHCLK_ADC12|RCC_PERIPHCLK_FDCAN;
	PeriphClkInit.Usart2ClockSelection = RCC_USART2CLKSOURCE_PCLK1;
	PeriphClkInit.I2c1ClockSelection = RCC_I2C1CLKSOURCE_PCLK1;
	PeriphClkInit.FdcanClockSelection = RCC_FDCANCLKSOURCE_PCLK1;
	PeriphClkInit.Adc12ClockSelection = RCC_ADC12CLKSOURCE_SYSCLK;
	if (HAL_RCCEx_PeriphCLKConfig(&PeriphClkInit) != HAL_OK)
	{
		Error_Handler();
	}
}

static void MX_ADC1_Init(void)
{

	ADC_MultiModeTypeDef multimode = {0};
	ADC_ChannelConfTypeDef sConfig = {0};

	/** Common config
	 */
	hadc1.Instance = ADC1;
	hadc1.Init.ClockPrescaler = ADC_CLOCK_SYNC_PCLK_DIV4;
	hadc1.Init.Resolution = ADC_RESOLUTION_12B;
	hadc1.Init.DataAlign = ADC_DATAALIGN_RIGHT;
	hadc1.Init.GainCompensation = 0;
	hadc1.Init.ScanConvMode = ADC_SCAN_ENABLE;
	hadc1.Init.EOCSelection = ADC_EOC_SEQ_CONV;
	hadc1.Init.LowPowerAutoWait = DISABLE;
	hadc1.Init.ContinuousConvMode = DISABLE;
	hadc1.Init.NbrOfConversion = 5;
	hadc1.Init.DiscontinuousConvMode = DISABLE;
	hadc1.Init.ExternalTrigConv = ADC_EXTERNALTRIG_T1_TRGO;
	hadc1.Init.ExternalTrigConvEdge = ADC_EXTERNALTRIGCONVEDGE_RISING;
	hadc1.Init.DMAContinuousRequests = DISABLE;
	hadc1.Init.Overrun = ADC_OVR_DATA_OVERWRITTEN;
	hadc1.Init.OversamplingMode = DISABLE;
	if (HAL_ADC_Init(&hadc1) != HAL_OK)
	{
		Error_Handler();
	}
	/** Configure the ADC multi-mode
	 */
	multimode.Mode = ADC_MODE_INDEPENDENT;
	if (HAL_ADCEx_MultiModeConfigChannel(&hadc1, &multimode) != HAL_OK)
	{
		Error_Handler();
	}
	/** Configure Regular Channel
	 */
	sConfig.Channel = ADC_CHANNEL_VOPAMP1;
	sConfig.Rank = ADC_REGULAR_RANK_1;
	sConfig.SamplingTime = ADC_SAMPLETIME_2CYCLES_5;
	sConfig.SingleDiff = ADC_SINGLE_ENDED;
	sConfig.OffsetNumber = ADC_OFFSET_NONE;
	sConfig.Offset = 0;
	if (HAL_ADC_ConfigChannel(&hadc1, &sConfig) != HAL_OK)
	{
		Error_Handler();
	}
	/** Configure Regular Channel
	 */
	sConfig.Rank = ADC_REGULAR_RANK_2;
	if (HAL_ADC_ConfigChannel(&hadc1, &sConfig) != HAL_OK)
	{
		Error_Handler();
	}
	/** Configure Regular Channel
	 */
	sConfig.Channel = ADC_CHANNEL_11;
	sConfig.Rank = ADC_REGULAR_RANK_3;
	if (HAL_ADC_ConfigChannel(&hadc1, &sConfig) != HAL_OK)
	{
		Error_Handler();
	}
	/** Configure Regular Channel
	 */
	sConfig.Channel = ADC_CHANNEL_1;
	sConfig.Rank = ADC_REGULAR_RANK_4;
	if (HAL_ADC_ConfigChannel(&hadc1, &sConfig) != HAL_OK)
	{
		Error_Handler();
	}
	/** Configure Regular Channel
	 */
	sConfig.Channel = ADC_CHANNEL_5;
	sConfig.Rank = ADC_REGULAR_RANK_5;
	if (HAL_ADC_ConfigChannel(&hadc1, &sConfig) != HAL_OK)
	{
		Error_Handler();
	}

}

static void MX_ADC2_Init(void)
{

	ADC_ChannelConfTypeDef sConfig = {0};

	/** Common config
	 */
	hadc2.Instance = ADC2;
	hadc2.Init.ClockPrescaler = ADC_CLOCK_SYNC_PCLK_DIV4;
	hadc2.Init.Resolution = ADC_RESOLUTION_12B;
	hadc2.Init.DataAlign = ADC_DATAALIGN_RIGHT;
	hadc2.Init.GainCompensation = 0;
	hadc2.Init.ScanConvMode = ADC_SCAN_ENABLE;
	hadc2.Init.EOCSelection = ADC_EOC_SEQ_CONV;
	hadc2.Init.LowPowerAutoWait = DISABLE;
	hadc2.Init.ContinuousConvMode = DISABLE;
	hadc2.Init.NbrOfConversion = 3;
	hadc2.Init.DiscontinuousConvMode = DISABLE;
	hadc2.Init.ExternalTrigConv = ADC_EXTERNALTRIG_T1_TRGO;
	hadc2.Init.ExternalTrigConvEdge = ADC_EXTERNALTRIGCONVEDGE_RISING;
	hadc2.Init.DMAContinuousRequests = DISABLE;
	hadc2.Init.Overrun = ADC_OVR_DATA_OVERWRITTEN;
	hadc2.Init.OversamplingMode = DISABLE;
	if (HAL_ADC_Init(&hadc2) != HAL_OK)
	{
		Error_Handler();
	}
	/** Configure Regular Channel
	 */
	sConfig.Channel = ADC_CHANNEL_VOPAMP2;
	sConfig.Rank = ADC_REGULAR_RANK_1;
	sConfig.SamplingTime = ADC_SAMPLETIME_2CYCLES_5;
	sConfig.SingleDiff = ADC_SINGLE_ENDED;
	sConfig.OffsetNumber = ADC_OFFSET_NONE;
	sConfig.Offset = 0;
	if (HAL_ADC_ConfigChannel(&hadc2, &sConfig) != HAL_OK)
	{
		Error_Handler();
	}
	/** Configure Regular Channel
	 */
	sConfig.Rank = ADC_REGULAR_RANK_2;
	if (HAL_ADC_ConfigChannel(&hadc2, &sConfig) != HAL_OK)
	{
		Error_Handler();
	}
	/** Configure Regular Channel
	 */
	sConfig.Channel = ADC_CHANNEL_VOPAMP3_ADC2;
	sConfig.Rank = ADC_REGULAR_RANK_3;
	if (HAL_ADC_ConfigChannel(&hadc2, &sConfig) != HAL_OK)
	{
		Error_Handler();
	}

}

static void MX_CORDIC_Init(void)
{

	hcordic.Instance = CORDIC;
	if (HAL_CORDIC_Init(&hcordic) != HAL_OK)
	{
		Error_Handler();
	}

}

static void MX_FDCAN1_Init(void)
{

	hfdcan1.Instance = FDCAN1;
	hfdcan1.Init.ClockDivider = FDCAN_CLOCK_DIV2;
	hfdcan1.Init.FrameFormat = FDCAN_FRAME_CLASSIC;
	hfdcan1.Init.Mode = FDCAN_MODE_NORMAL;
	hfdcan1.Init.AutoRetransmission = ENABLE;
	hfdcan1.Init.TransmitPause = ENABLE;
	hfdcan1.Init.ProtocolException = DISABLE;
	hfdcan1.Init.NominalPrescaler = 1;
	hfdcan1.Init.NominalSyncJumpWidth = 16;
	hfdcan1.Init.NominalTimeSeg1 = 63;
	hfdcan1.Init.NominalTimeSeg2 = 16;
	hfdcan1.Init.DataPrescaler = 1;
	hfdcan1.Init.DataSyncJumpWidth = 4;
	hfdcan1.Init.DataTimeSeg1 = 5;
	hfdcan1.Init.DataTimeSeg2 = 4;
	hfdcan1.Init.StdFiltersNbr = 1;
	hfdcan1.Init.ExtFiltersNbr = 0;
	hfdcan1.Init.TxFifoQueueMode = FDCAN_TX_FIFO_OPERATION;
	if (HAL_FDCAN_Init(&hfdcan1) != HAL_OK)
	{
		Error_Handler();
	}

}

static void MX_I2C1_Init(void)
{

	hi2c1.Instance = I2C1;
	hi2c1.Init.Timing = 0x00701F6B;
	hi2c1.Init.OwnAddress1 = 0;
	hi2c1.Init.AddressingMode = I2C_ADDRESSINGMODE_7BIT;
	hi2c1.Init.DualAddressMode = I2C_DUALADDRESS_DISABLE;
	hi2c1.Init.OwnAddress2 = 0;
	hi2c1.Init.OwnAddress2Masks = I2C_OA2_NOMASK;
	hi2c1.Init.GeneralCallMode = I2C_GENERALCALL_DISABLE;
	hi2c1.Init.NoStretchMode = I2C_NOSTRETCH_DISABLE;
	if (HAL_I2C_Init(&hi2c1) != HAL_OK)
	{
		Error_Handler();
	}
	/** Configure Analogue filter
	 */
	if (HAL_I2CEx_ConfigAnalogFilter(&hi2c1, I2C_ANALOGFILTER_ENABLE) != HAL_OK)
	{
		Error_Handler();
	}
	/** Configure Digital filter
	 */
	if (HAL_I2CEx_ConfigDigitalFilter(&hi2c1, 0) != HAL_OK)
	{
		Error_Handler();
	}
	/** I2C Fast mode Plus enable
	 */
	__HAL_SYSCFG_FASTMODEPLUS_ENABLE(I2C_FASTMODEPLUS_I2C1);

}

static void MX_OPAMP1_Init(void)
{

	hopamp1.Instance = OPAMP1;
	hopamp1.Init.PowerMode = OPAMP_POWERMODE_NORMALSPEED;
	hopamp1.Init.Mode = OPAMP_PGA_MODE;
	hopamp1.Init.NonInvertingInput = OPAMP_NONINVERTINGINPUT_IO0;
	hopamp1.Init.InternalOutput = ENABLE;
	hopamp1.Init.TimerControlledMuxmode = OPAMP_TIMERCONTROLLEDMUXMODE_DISABLE;
	hopamp1.Init.PgaConnect = OPAMP_PGA_CONNECT_INVERTINGINPUT_IO0_BIAS;
	hopamp1.Init.PgaGain = OPAMP_PGA_GAIN_16_OR_MINUS_15;
	hopamp1.Init.UserTrimming = OPAMP_TRIMMING_FACTORY;
	if (HAL_OPAMP_Init(&hopamp1) != HAL_OK)
	{
		Error_Handler();
	}

}

static void MX_OPAMP2_Init(void)
{

	hopamp2.Instance = OPAMP2;
	hopamp2.Init.PowerMode = OPAMP_POWERMODE_NORMALSPEED;
	hopamp2.Init.Mode = OPAMP_PGA_MODE;
	hopamp2.Init.NonInvertingInput = OPAMP_NONINVERTINGINPUT_IO0;
	hopamp2.Init.InternalOutput = ENABLE;
	hopamp2.Init.TimerControlledMuxmode = OPAMP_TIMERCONTROLLEDMUXMODE_DISABLE;
	hopamp2.Init.PgaConnect = OPAMP_PGA_CONNECT_INVERTINGINPUT_IO0_BIAS;
	hopamp2.Init.PgaGain = OPAMP_PGA_GAIN_16_OR_MINUS_15;
	hopamp2.Init.UserTrimming = OPAMP_TRIMMING_FACTORY;
	if (HAL_OPAMP_Init(&hopamp2) != HAL_OK)
	{
		Error_Handler();
	}

}

static void MX_OPAMP3_Init(void)
{

	hopamp3.Instance = OPAMP3;
	hopamp3.Init.PowerMode = OPAMP_POWERMODE_NORMALSPEED;
	hopamp3.Init.Mode = OPAMP_PGA_MODE;
	hopamp3.Init.NonInvertingInput = OPAMP_NONINVERTINGINPUT_IO0;
	hopamp3.Init.InternalOutput = ENABLE;
	hopamp3.Init.TimerControlledMuxmode = OPAMP_TIMERCONTROLLEDMUXMODE_DISABLE;
	hopamp3.Init.PgaConnect = OPAMP_PGA_CONNECT_INVERTINGINPUT_IO0_BIAS;
	hopamp3.Init.PgaGain = OPAMP_PGA_GAIN_16_OR_MINUS_15;
	hopamp3.Init.UserTrimming = OPAMP_TRIMMING_FACTORY;
	if (HAL_OPAMP_Init(&hopamp3) != HAL_OK)
	{
		Error_Handler();
	}

}

static void MX_TIM1_Init(void)
{

	TIM_ClockConfigTypeDef sClockSourceConfig = {0};
	TIM_MasterConfigTypeDef sMasterConfig = {0};
	TIM_OC_InitTypeDef sConfigOC = {0};
	TIM_BreakDeadTimeConfigTypeDef sBreakDeadTimeConfig = {0};

	htim1.Instance = TIM1;
	htim1.Init.Prescaler = 0;
	htim1.Init.CounterMode = TIM_COUNTERMODE_CENTERALIGNED1;
	htim1.Init.Period = 4999;
	htim1.Init.ClockDivision = TIM_CLOCKDIVISION_DIV1;
	htim1.Init.RepetitionCounter = 0;
	htim1.Init.AutoReloadPreload = TIM_AUTORELOAD_PRELOAD_DISABLE;
	if (HAL_TIM_Base_Init(&htim1) != HAL_OK)
	{
		Error_Handler();
	}
	sClockSourceConfig.ClockSource = TIM_CLOCKSOURCE_INTERNAL;
	if (HAL_TIM_ConfigClockSource(&htim1, &sClockSourceConfig) != HAL_OK)
	{
		Error_Handler();
	}
	if (HAL_TIM_PWM_Init(&htim1) != HAL_OK)
	{
		Error_Handler();
	}
	sMasterConfig.MasterOutputTrigger = TIM_TRGO_UPDATE;
	sMasterConfig.MasterOutputTrigger2 = TIM_TRGO2_RESET;
	sMasterConfig.MasterSlaveMode = TIM_MASTERSLAVEMODE_DISABLE;
	if (HAL_TIMEx_MasterConfigSynchronization(&htim1, &sMasterConfig) != HAL_OK)
	{
		Error_Handler();
	}
	sConfigOC.OCMode = TIM_OCMODE_PWM1;
	sConfigOC.Pulse = 0;
	sConfigOC.OCPolarity = TIM_OCPOLARITY_HIGH;
	sConfigOC.OCNPolarity = TIM_OCNPOLARITY_HIGH;
	sConfigOC.OCFastMode = TIM_OCFAST_DISABLE;
	sConfigOC.OCIdleState = TIM_OCIDLESTATE_RESET;
	sConfigOC.OCNIdleState = TIM_OCNIDLESTATE_RESET;
	if (HAL_TIM_PWM_ConfigChannel(&htim1, &sConfigOC, TIM_CHANNEL_1) != HAL_OK)
	{
		Error_Handler();
	}
	if (HAL_TIM_PWM_ConfigChannel(&htim1, &sConfigOC, TIM_CHANNEL_2) != HAL_OK)
	{
		Error_Handler();
	}
	if (HAL_TIM_PWM_ConfigChannel(&htim1, &sConfigOC, TIM_CHANNEL_3) != HAL_OK)
	{
		Error_Handler();
	}
	sBreakDeadTimeConfig.OffStateRunMode = TIM_OSSR_DISABLE;
	sBreakDeadTimeConfig.OffStateIDLEMode = TIM_OSSI_DISABLE;
	sBreakDeadTimeConfig.LockLevel = TIM_LOCKLEVEL_OFF;
	sBreakDeadTimeConfig.DeadTime = 128;
	sBreakDeadTimeConfig.BreakState = TIM_BREAK_DISABLE;
	sBreakDeadTimeConfig.BreakPolarity = TIM_BREAKPOLARITY_HIGH;
	sBreakDeadTimeConfig.BreakFilter = 0;
	sBreakDeadTimeConfig.BreakAFMode = TIM_BREAK_AFMODE_INPUT;
	sBreakDeadTimeConfig.Break2State = TIM_BREAK2_DISABLE;
	sBreakDeadTimeConfig.Break2Polarity = TIM_BREAK2POLARITY_HIGH;
	sBreakDeadTimeConfig.Break2Filter = 0;
	sBreakDeadTimeConfig.Break2AFMode = TIM_BREAK_AFMODE_INPUT;
	sBreakDeadTimeConfig.AutomaticOutput = TIM_AUTOMATICOUTPUT_DISABLE;
	if (HAL_TIMEx_ConfigBreakDeadTime(&htim1, &sBreakDeadTimeConfig) != HAL_OK)
	{
		Error_Handler();
	}
	HAL_TIM_MspPostInit(&htim1);

}

static void MX_TIM4_Init(void)
{

	TIM_SlaveConfigTypeDef sSlaveConfig = {0};
	TIM_IC_InitTypeDef sConfigIC = {0};
	TIM_MasterConfigTypeDef sMasterConfig = {0};

	htim4.Instance = TIM4;
	htim4.Init.Prescaler = 2;
	htim4.Init.CounterMode = TIM_COUNTERMODE_UP;
	htim4.Init.Period = 65535;
	htim4.Init.ClockDivision = TIM_CLOCKDIVISION_DIV1;
	htim4.Init.AutoReloadPreload = TIM_AUTORELOAD_PRELOAD_DISABLE;
	if (HAL_TIM_IC_Init(&htim4) != HAL_OK)
	{
		Error_Handler();
	}
	sSlaveConfig.SlaveMode = TIM_SLAVEMODE_RESET;
	sSlaveConfig.InputTrigger = TIM_TS_TI1FP1;
	sSlaveConfig.TriggerPolarity = TIM_INPUTCHANNELPOLARITY_RISING;
	sSlaveConfig.TriggerPrescaler = TIM_ICPSC_DIV1;
	sSlaveConfig.TriggerFilter = 0;
	if (HAL_TIM_SlaveConfigSynchro(&htim4, &sSlaveConfig) != HAL_OK)
	{
		Error_Handler();
	}
	sConfigIC.ICPolarity = TIM_INPUTCHANNELPOLARITY_RISING;
	sConfigIC.ICSelection = TIM_ICSELECTION_DIRECTTI;
	sConfigIC.ICPrescaler = TIM_ICPSC_DIV1;
	sConfigIC.ICFilter = 0;
	if (HAL_TIM_IC_ConfigChannel(&htim4, &sConfigIC, TIM_CHANNEL_1) != HAL_OK)
	{
		Error_Handler();
	}
	sConfigIC.ICPolarity = TIM_INPUTCHANNELPOLARITY_FALLING;
	sConfigIC.ICSelection = TIM_ICSELECTION_INDIRECTTI;
	if (HAL_TIM_IC_ConfigChannel(&htim4, &sConfigIC, TIM_CHANNEL_2) != HAL_OK)
	{
		Error_Handler();
	}
	sMasterConfig.MasterOutputTrigger = TIM_TRGO_RESET;
	sMasterConfig.MasterSlaveMode = TIM_MASTERSLAVEMODE_DISABLE;
	if (HAL_TIMEx_MasterConfigSynchronization(&htim4, &sMasterConfig) != HAL_OK)
	{
		Error_Handler();
	}

}

static void MX_TIM6_Init(void)
{

	TIM_MasterConfigTypeDef sMasterConfig = {0};

	htim6.Instance = TIM6;
	htim6.Init.Prescaler = 159;
	htim6.Init.CounterMode = TIM_COUNTERMODE_UP;
	htim6.Init.Period = 65535;
	htim6.Init.AutoReloadPreload = TIM_AUTORELOAD_PRELOAD_DISABLE;
	if (HAL_TIM_Base_Init(&htim6) != HAL_OK)
	{
		Error_Handler();
	}
	sMasterConfig.MasterOutputTrigger = TIM_TRGO_RESET;
	sMasterConfig.MasterSlaveMode = TIM_MASTERSLAVEMODE_DISABLE;
	if (HAL_TIMEx_MasterConfigSynchronization(&htim6, &sMasterConfig) != HAL_OK)
	{
		Error_Handler();
	}

}

static void MX_USART2_UART_Init(void)
{

	huart2.Instance = USART2;
	huart2.Init.BaudRate = 1000000;
	huart2.Init.WordLength = UART_WORDLENGTH_8B;
	huart2.Init.StopBits = UART_STOPBITS_1;
	huart2.Init.Parity = UART_PARITY_NONE;
	huart2.Init.Mode = UART_MODE_TX_RX;
	huart2.Init.HwFlowCtl = UART_HWCONTROL_NONE;
	huart2.Init.OverSampling = UART_OVERSAMPLING_16;
	huart2.Init.OneBitSampling = UART_ONE_BIT_SAMPLE_DISABLE;
	huart2.Init.ClockPrescaler = UART_PRESCALER_DIV1;
	huart2.AdvancedInit.AdvFeatureInit = UART_ADVFEATURE_NO_INIT;
	if (HAL_UART_Init(&huart2) != HAL_OK)
	{
		Error_Handler();
	}
	if (HAL_UARTEx_SetTxFifoThreshold(&huart2, UART_TXFIFO_THRESHOLD_1_8) != HAL_OK)
	{
		Error_Handler();
	}
	if (HAL_UARTEx_SetRxFifoThreshold(&huart2, UART_RXFIFO_THRESHOLD_1_8) != HAL_OK)
	{
		Error_Handler();
	}
	if (HAL_UARTEx_DisableFifoMode(&huart2) != HAL_OK)
	{
		Error_Handler();
	}

}

static void MX_DMA_Init(void)
{

	/* DMA controller clock enable */
	__HAL_RCC_DMAMUX1_CLK_ENABLE();
	__HAL_RCC_DMA1_CLK_ENABLE();

	/* DMA interrupt init */
	/* DMA1_Channel1_IRQn interrupt configuration */
	HAL_NVIC_SetPriority(DMA1_Channel1_IRQn, 0, 0);
	HAL_NVIC_EnableIRQ(DMA1_Channel1_IRQn);
	/* DMA1_Channel2_IRQn interrupt configuration */
	HAL_NVIC_SetPriority(DMA1_Channel2_IRQn, 0, 0);
	HAL_NVIC_EnableIRQ(DMA1_Channel2_IRQn);
	/* DMA1_Channel3_IRQn interrupt configuration */
	HAL_NVIC_SetPriority(DMA1_Channel3_IRQn, 0, 0);
	HAL_NVIC_EnableIRQ(DMA1_Channel3_IRQn);
	/* DMA1_Channel4_IRQn interrupt configuration */
	HAL_NVIC_SetPriority(DMA1_Channel4_IRQn, 0, 0);
	HAL_NVIC_EnableIRQ(DMA1_Channel4_IRQn);

}

static void MX_GPIO_Init(void)
{
	GPIO_InitTypeDef GPIO_InitStruct = {0};

	/* GPIO Ports Clock Enable */
	__HAL_RCC_GPIOC_CLK_ENABLE();
	__HAL_RCC_GPIOF_CLK_ENABLE();
	__HAL_RCC_GPIOA_CLK_ENABLE();
	__HAL_RCC_GPIOB_CLK_ENABLE();

	/*Configure GPIO pin Output Level */
	HAL_GPIO_WritePin(GPIOC, CAN_TERM_Pin|STATUS_Pin|CAN_SHDN_Pin, GPIO_PIN_RESET);

	/*Configure GPIO pins : CAN_TERM_Pin STATUS_Pin CAN_SHDN_Pin */
	GPIO_InitStruct.Pin = CAN_TERM_Pin|STATUS_Pin|CAN_SHDN_Pin;
	GPIO_InitStruct.Mode = GPIO_MODE_OUTPUT_PP;
	GPIO_InitStruct.Pull = GPIO_NOPULL;
	GPIO_InitStruct.Speed = GPIO_SPEED_FREQ_LOW;
	HAL_GPIO_Init(GPIOC, &GPIO_InitStruct);

	/*Configure GPIO pin : BUTTON_Pin */
	GPIO_InitStruct.Pin = BUTTON_Pin;
	GPIO_InitStruct.Mode = GPIO_MODE_INPUT;
	GPIO_InitStruct.Pull = GPIO_NOPULL;
	HAL_GPIO_Init(BUTTON_GPIO_Port, &GPIO_InitStruct);

}

void Error_Handler(void)
{
	__disable_irq();
	while (1)
	{
	}
}

/************************ (C) COPYRIGHT STMicroelectronics *****END OF FILE****/
